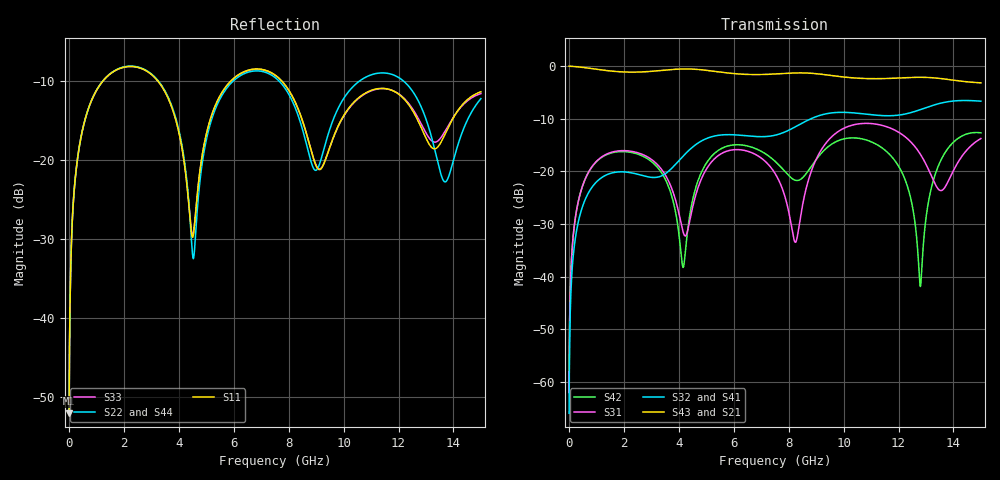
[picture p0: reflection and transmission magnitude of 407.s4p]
! Created with skrf 1.8.0 (http://scikit-rf.org).
# GHz S RI R 50.0
!freq ReS11 ImS11 ReS12 ImS12 ReS13 ImS13
! ReS14 ImS14
! ReS21 ImS21 ReS22 ImS22 ReS23 ImS23
! ReS24 ImS24
! ReS31 ImS31 ReS32 ImS32 ReS33 ImS33
! ReS34 ImS34
! ReS41 ImS41 ReS42 ImS42 ReS43 ImS43
! ReS44 ImS44
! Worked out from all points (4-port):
!   2499 points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, 5 MHz to 15 GHz, reference 50 ohm
!   strongest paths, dB at 5 MHz, 3.476 GHz, 7.19 GHz, 11.1 GHz, 15 GHz:
!     S43: 0.0, -0.8, -1.6, -2.4, -3.2
!     S21: 0.0, -0.8, -1.6, -2.4, -3.2
!     S32: -66.0, -20.6, -13.4, -9.3, -6.7
!     S41: -66.0, -20.6, -13.5, -9.4, -6.7
!     S31: -62.0, -20.4, -18.3, -11.0, -13.8
!     S42: -62.0, -21.2, -16.8, -14.6, -12.7
!   lowest |S11| = -52.1 dB at 5 MHz (marker M1), VSWR 1.00, Z = 50.2 + j0.151 ohm
!   |S11| at or under -10 dB: start of sweep to 1.229 GHz; 3.244 GHz to 5.885 GHz (2.641 GHz wide, 57.9 % of centre); 7.756 GHz to end of sweep
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0.005  0.00198 0.00151  0.998 -0.00386  0.000101 0.000784  -9.78e-05 -0.000493
       0.998 -0.00386  0.00198 0.00151  -9.78e-05 -0.000493  0.000101 0.000784
       0.000101 0.000784  -9.78e-05 -0.000493  0.00198 0.00151  0.998 -0.00386
       -9.78e-05 -0.000493  0.000101 0.000784  0.998 -0.00386  0.00198 0.00151
1.3193  0.2793 0.1748  0.5286 -0.7403  0.1327 0.0547  -0.0911 -0.00301
        0.5286 -0.7403  0.2808 0.1737  -0.0913 -0.00279  0.1279 0.0616
        0.1327 0.0547  -0.0913 -0.00279  0.2792 0.1749  0.5286 -0.7403
        -0.0911 -0.00301  0.1279 0.0616  0.5286 -0.7403  0.281 0.1736
4.395581  0.034 -0.0298  -0.927 -0.1466  -0.021 0.0263  -0.0234 0.1592
          -0.927 -0.1466  0.0258 -0.038  -0.02 0.1596  0.0164 0.0343
          -0.021 0.0263  -0.02 0.1596  0.035 -0.0302  -0.9269 -0.1466
          -0.0234 0.1592  0.0164 0.0343  -0.9269 -0.1466  0.0251 -0.0384
6.977907  0.3756 -0.0304  -0.00818 0.8308  0.1173 -0.0669  0.2059 -0.0488
          -0.00818 0.8308  0.3655 -0.0218  0.2059 -0.0563  0.1182 -0.102
          0.1173 -0.0669  0.2059 -0.0563  0.3742 -0.0293  -0.0078 0.831
          0.2059 -0.0488  0.1182 -0.102  -0.0078 0.831  0.3661 -0.0234
9.33514  0.0973 0.0237  0.8266 -0.0413  0.0952 0.1553  -0.0318 -0.3491
         0.8266 -0.0413  0.1102 0.0624  -0.0451 -0.3479  -0.00558 0.1623
         0.0952 0.1553  -0.0451 -0.3479  0.0976 0.0232  0.8263 -0.0428
         -0.0318 -0.3491  -0.00558 0.1623  0.8263 -0.0428  0.1089 0.067
12.79283  0.1526 -0.0646  -0.5274 -0.5802  -0.0581 -0.1337  -0.2845 0.2589
          -0.5274 -0.5802  0.1585 -0.1581  -0.2668 0.2783  0.00729 0.00343
          -0.0581 -0.1337  -0.2668 0.2783  0.1633 -0.06  -0.5266 -0.5789
          -0.2845 0.2589  0.00729 0.00343  -0.5266 -0.5789  0.1587 -0.1663
15  0.2653 0.0559  -0.5464 0.4264  0.2049 -0.000982  0.3292 0.3223
    -0.5464 0.4264  0.2235 0.1012  0.3526 0.3017  0.2225 0.0666
    0.2049 -0.000982  0.3526 0.3017  0.2591 0.0509  -0.5455 0.4279
    0.3292 0.3223  0.2225 0.0666  -0.5455 0.4279  0.2289 0.104
